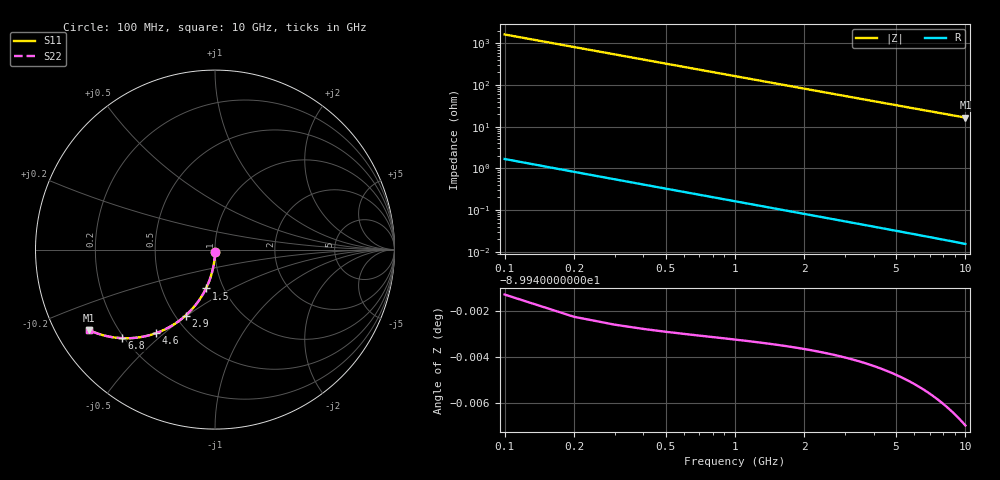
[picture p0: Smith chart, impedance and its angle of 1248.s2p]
# Hz S RI R 50.00
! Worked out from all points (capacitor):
!   100 points, 100 MHz to 10 GHz, reference 50 ohm
!   read as one part in shunt: C = 973 fF near 100 MHz
!   lowest |Z| = 16.5 ohm at 10 GHz (marker M1)
!   S11 on the Smith chart (normalised r, x): 100 MHz: 1.00, -0.03; 1.5 GHz: 0.83, -0.38; 2.9 GHz: 0.56, -0.49; 4.6 GHz: 0.34, -0.47; 6.8 GHz: 0.19, -0.39; 10 GHz: 0.10, -0.29
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1e8  -0.0002 -0.0152  0.9997 -0.0154  0.9997 -0.0154  -0.0002 -0.0152
2e8  -0.000914 -0.0304  0.999 -0.0307  0.999 -0.0307  -0.000914 -0.0304
3e8  -0.00209 -0.0455  0.9978 -0.046  0.9978 -0.046  -0.00209 -0.0455
4e8  -0.00373 -0.0605  0.9962 -0.0612  0.9962 -0.0612  -0.00373 -0.0605
5e8  -0.00583 -0.0755  0.9941 -0.0764  0.9941 -0.0764  -0.00583 -0.0755
6e8  -0.00837 -0.0904  0.9915 -0.0914  0.9915 -0.0914  -0.00837 -0.0904
7e8  -0.0114 -0.1051  0.9885 -0.1063  0.9885 -0.1063  -0.0114 -0.1051
9e8  -0.0186 -0.1342  0.9813 -0.1357  0.9813 -0.1357  -0.0186 -0.1342
1.2e9  -0.0326 -0.1763  0.9673 -0.1783  0.9673 -0.1783  -0.0326 -0.1763
1.5e9  -0.05 -0.2164  0.9499 -0.2189  0.9499 -0.2189  -0.05 -0.2164
1.8e9  -0.0705 -0.254  0.9294 -0.257  0.9294 -0.257  -0.0705 -0.254
2.3e9  -0.1101 -0.3106  0.8898 -0.3145  0.8898 -0.3145  -0.1101 -0.3106
2.9e9  -0.1643 -0.3677  0.8356 -0.3725  0.8356 -0.3725  -0.1643 -0.3677
3.4e9  -0.2126 -0.4059  0.7872 -0.4115  0.7872 -0.4115  -0.2126 -0.4059
4e9  -0.272 -0.4412  0.7278 -0.4479  0.7278 -0.4479  -0.272 -0.4412
4.6e9  -0.3307 -0.4661  0.6692 -0.4738  0.6692 -0.4738  -0.3307 -0.4661
5.1e9  -0.3778 -0.4801  0.622 -0.4886  0.622 -0.4886  -0.3778 -0.4801
5.9e9  -0.4483 -0.4919  0.5515 -0.5018  0.5515 -0.5018  -0.4483 -0.4919
6.7e9  -0.5117 -0.4937  0.4881 -0.505  0.4881 -0.505  -0.5117 -0.4937
6.8e9  -0.5191 -0.4934  0.4807 -0.5048  0.4807 -0.5048  -0.5191 -0.4934
8.4e9  -0.6224 -0.4772  0.3774 -0.4913  0.3774 -0.4913  -0.6224 -0.4772
1e10  -0.7004 -0.449  0.2993 -0.466  0.2993 -0.466  -0.7004 -0.449
